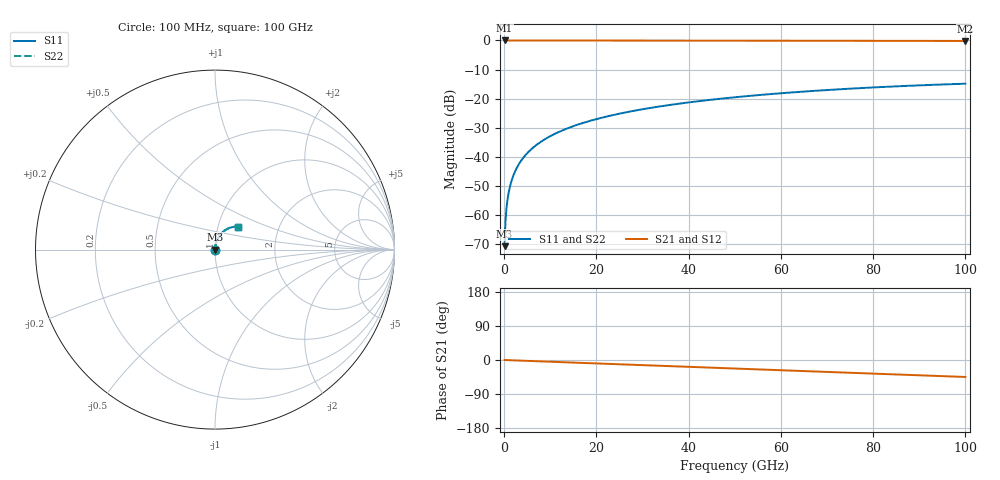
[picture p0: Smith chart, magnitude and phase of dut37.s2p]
! Touchstone file exported from HFSS 2026.1.0
!  File:  C:/ffzhzh/LocalFiles/Ansys_Project_Files/temp_train_TSV_37_1783504697_9504.aedt
!  Generated:  05:59:43 PM Jul  8, 2026
!  Design:  TSV
!  Project:  temp_train_TSV_37_1783504697_9504
! Variables:
!  h_bsmrdl = 2um
!  h_ox = 20um
!  h_rdl = 5um
!  h_sub = 83.07um
!  h_tmrdl = 5um
!  h_tsv = 83.07um
!  h_via = 3um
!  l_bsmrdl = 300um
!  l_sub = 420.78um
!  l_tmrdl = 200um
!  m_sub = 200um
!  pitch = 59.33um
!  r_tsv = 10.39um
!  s_tmrdl = 10um
!  w_bsmrdl = 18um
!  w_sub = 500um
!  w_tmrdl = 12um
!  x_tsv_center1 = 206um
!  x_tsv_center2 = 524um
!  x_tsv_center3 = 736um
!  x_tsv_center4 = 1054um
!  x_tsv_center5 = 1266um
!  x_tsv_center6 = 1584um
# GHz S MA R 50.000000
! Terminal data exported
! Port[1] = TSV1_1_T1
! Port[2] = TSV1_1_T2
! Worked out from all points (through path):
!   1000 points, 100 MHz to 100 GHz, reference 50 ohm
!   highest |S21| = 0.00 dB at 100 MHz (marker M1); lowest = -0.2 dB at 100 GHz (marker M2)
!   group delay of S21, straight-line fit = 1.24 ps
!   lowest |S11| = -70.7 dB at 100 MHz (marker M3), VSWR 1.00, Z = 50 + j0.0264 ohm
!   |S11| at or under -10 dB: start of sweep to end of sweep
!   |S22| runs from -70.7 to -14.9 dB; largest |S21 - S12| = 3.1e-15
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0.1  0.0002902 65.5  0.9999 -0.0  0.9999 -0.0  0.0002902 65.5
! Gamma 0 0 0 0
! Port Impedance 50 0 50 0
0.3  0.0007952 79.1  0.9999 -0.1  0.9999 -0.1  0.0007952 79.1
0.7  0.001767 82.2  0.9998 -0.3  0.9998 -0.3  0.001767 82.2
0.8  0.002002 82.6  0.9998 -0.4  0.9998 -0.4  0.002002 82.6
1  0.002467 83.1  0.9997 -0.5  0.9997 -0.5  0.002467 83.1
1.3  0.003159 83.7  0.9997 -0.6  0.9997 -0.6  0.003159 83.7
1.7  0.004077 84.2  0.9996 -0.8  0.9996 -0.8  0.004077 84.2
2.3  0.005445 84.6  0.9996 -1.1  0.9996 -1.1  0.005445 84.6
3  0.007031 84.7  0.9995 -1.4  0.9995 -1.4  0.007031 84.7
3.8  0.008832 84.8  0.9994 -1.7  0.9994 -1.7  0.008832 84.8
4.8  0.01107 84.7  0.9993 -2.2  0.9993 -2.2  0.01107 84.7
6  0.01375 84.5  0.9992 -2.7  0.9992 -2.7  0.01375 84.5
8.8  0.01997 83.6  0.999 -4.0  0.999 -4.0  0.01997 83.6
12.4  0.0279 82.3  0.9986 -5.6  0.9986 -5.6  0.0279 82.3
16.8  0.0375 80.6  0.9982 -7.6  0.9982 -7.6  0.0375 80.6
24.2  0.05341 77.6  0.9972 -11.0  0.9972 -11.0  0.05341 77.6
33.4  0.07268 73.6  0.9957 -15.1  0.9957 -15.1  0.07268 73.6
41.2  0.08844 70.2  0.9943 -18.6  0.9943 -18.6  0.08844 70.2
50.1  0.1056 66.4  0.9924 -22.6  0.9924 -22.6  0.1056 66.4
66.7  0.1351 59.1  0.9886 -30.0  0.9886 -30.0  0.1351 59.1
83.4  0.1604 51.8  0.9845 -37.4  0.9845 -37.4  0.1604 51.8
100  0.1805 44.6  0.9806 -44.8  0.9806 -44.8  0.1805 44.6
